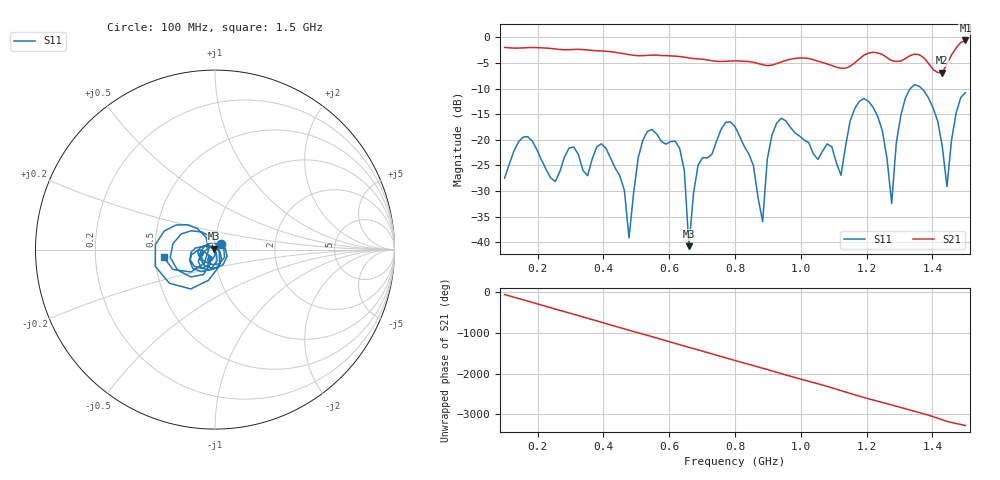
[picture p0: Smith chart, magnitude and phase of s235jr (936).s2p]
! NanoVNA-App
! Date: 2025-09-25 15:11:27
! Start: 100MHz Stop: 1,5GHz Points: 101
! S-Parameter data: F S11 S21 S12 S22
# Hz S RI R 50
!  Frequency  S11_Real  S11_Imag  S21_Real  S21_Imag  S12_Real  S12_Imag  S22_Real  S22_Imag
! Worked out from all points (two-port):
!   101 points, 100 MHz to 1.5 GHz, reference 50 ohm
!   highest |S21| = -0.60 dB at 1.5 GHz (marker M1); lowest = -6.9 dB at 1.43 GHz (marker M2)
!   |S21| within 3 dB of the highest: start of sweep to 601.6 MHz; 1.189 GHz to 1.254 GHz (64.58 MHz wide, 5.29 % of centre) (the widest 2 of 4)
!   lowest |S11| = -40.8 dB at 660 MHz (marker M3), VSWR 1.02, Z = 49.3 + j0.56 ohm
!   |S11| at or under -10 dB: start of sweep to 1.332 GHz; 1.367 GHz to end of sweep
!   S12 and S22 are empty: the file has one direction only
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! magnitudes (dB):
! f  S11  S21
! 100 MHz  -27.5  -2.0
! 170 MHz  -19.4  -2.0
! 338 MHz  -26.0  -2.4
! 408 MHz  -21.6  -2.7
! 478 MHz  -39.2  -3.4
! 520 MHz  -20.1  -3.6
! 576 MHz  -20.3  -3.5
! 632 MHz  -21.7  -3.7
! 660 MHz  -40.8  -4.0
! 688 MHz  -24.9  -4.2
! 800 MHz  -17.4  -4.6
! 884 MHz  -36.0  -5.3
! 926 MHz  -16.8  -5.1
! 1.038 GHz  -22.7  -4.4
! 1.122 GHz  -26.9  -6.0
! 1.192 GHz  -11.9  -3.5
! 1.248 GHz  -18.3  -3.4
! 1.276 GHz  -32.4  -4.5
! 1.332 GHz  -10.0  -3.6
! 1.43 GHz  -21.4  -6.9
! 1.444 GHz  -29.1  -5.1
! 1.5 GHz  -10.8  -0.6
